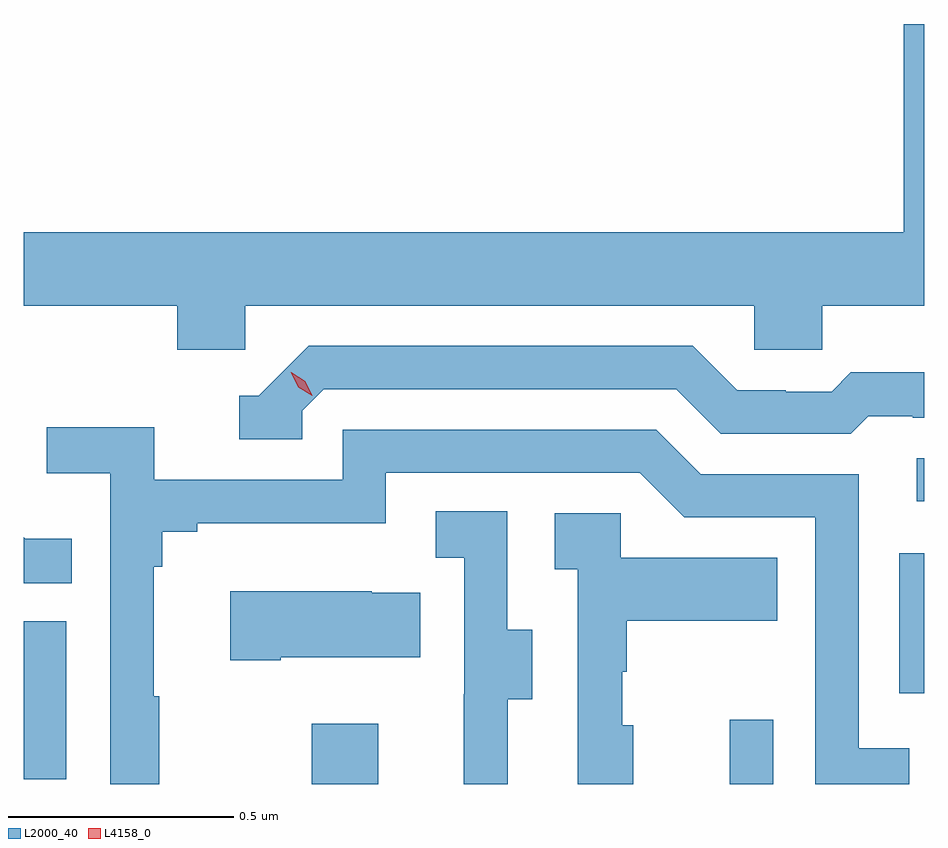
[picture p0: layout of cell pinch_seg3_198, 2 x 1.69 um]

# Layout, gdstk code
import gdstk
lib = gdstk.Library(unit=1e-6, precision=1e-09)
def R(c, l, rs):  # rectangles x0, y0, x1, y1
    for r in rs: c.add(gdstk.rectangle(r[:2], r[2:], *l))
def P(c, l, *ps):  # polygons
    for p in ps: c.add(gdstk.Polygon(p, *l))
L2000_40 = (2000, 40)
L4158_0 = (4158, 0)

pinch_seg3_198 = lib.new_cell('pinch_seg3_198')
R(pinch_seg3_198, L2000_40, [(976.348,737.15,976.495,737.284), (977.276,737.15,977.373,737.293), (975.708,737.16,975.802,737.511), (977.652,737.352,977.708,737.662), (977.691,737.778,977.708,737.874)])
P(pinch_seg3_198, L2000_40, [(976.2,738.212),(977.331,738.212),(977.331,738.114),(977.481,738.114),(977.481,738.212),(977.708,738.212),(977.708,738.838),(977.663,738.838),(977.663,738.376),(975.708,738.376),(975.708,738.212),(976.049,738.212),(976.049,738.114),(976.2,738.114)],
  [(976.326,737.979),(976.374,738.027),(977.157,738.027),(977.256,737.928),(977.545,737.928),(977.584,737.967),(977.683,737.967),(977.683,737.964),(977.708,737.964),(977.708,738.064),(977.545,738.064),(977.503,738.021),(977.4,738.021),(977.4,738.024),(977.293,738.024),(977.194,738.123),(976.341,738.123),(976.23,738.012),(976.187,738.012),(976.187,737.916),(976.326,737.916)],
  [(976.009,737.345),(975.997,737.345),(975.997,737.633),(976.016,737.633),(976.016,737.71),(976.093,737.71),(976.093,737.729),(976.512,737.729),(976.512,737.841),(977.076,737.841),(977.175,737.742),(977.466,737.742),(977.466,737.15),(977.675,737.15),(977.675,737.229),(977.562,737.229),(977.562,737.838),(977.212,737.838),(977.113,737.937),(976.416,737.937),(976.416,737.826),(975.998,737.826),(975.998,737.942),(975.759,737.942),(975.759,737.84),(975.9,737.84),(975.9,737.15),(976.009,737.15)],
  [(976.783,737.338),(976.837,737.338),(976.837,737.493),(976.782,737.493),(976.782,737.756),(976.623,737.756),(976.623,737.653),(976.686,737.653),(976.686,737.349),(976.685,737.349),(976.685,737.15),(976.783,737.15)],
  [(977.062,737.28),(977.037,737.28),(977.037,737.399),(977.047,737.399),(977.047,737.513),(977.381,737.513),(977.381,737.653),(977.034,737.653),(977.034,737.751),(976.887,737.751),(976.887,737.627),(976.938,737.627),(976.938,737.15),(977.062,737.15)],
  [(975.815,737.695),(975.711,737.695),(975.708,737.698),(975.708,737.596),(975.815,737.596)],
  [(976.279,737.432),(976.589,737.432),(976.589,737.575),(976.481,737.575),(976.481,737.578),(976.167,737.578),(976.167,737.425),(976.279,737.425)])
P(pinch_seg3_198, L4158_0, [(976.349,738.012),(976.318,738.031),(976.301,738.064),(976.301,738.064),(976.302,738.064),(976.333,738.045),(976.349,738.012),(976.349,738.012)])

lib.write_gds('pinch_seg3_198.gds')
